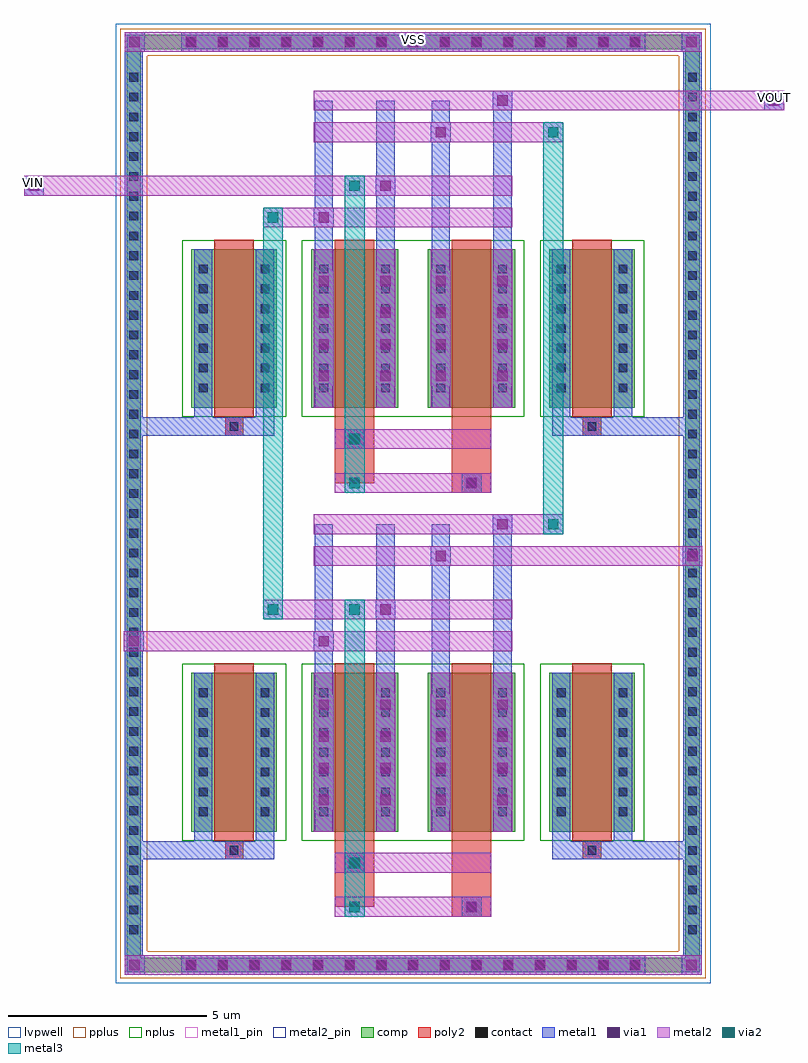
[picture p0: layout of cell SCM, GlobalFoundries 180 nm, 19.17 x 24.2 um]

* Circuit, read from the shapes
.subckt SCM VIN VOUT VSS
XM1 VSS VSS VSS VSS nfet_03v3 w=4u l=1u m=4
XM2 n1 n1 VSS VSS nfet_03v3 w=4u l=1u
XM3 VIN VIN n1 VSS nfet_03v3 w=4u l=1u
XM4 n2 n1 VSS VSS nfet_03v3 w=4u l=1u
XM5 VOUT VIN n2 VSS nfet_03v3 w=4u l=1u
.ends

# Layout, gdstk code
import gdstk
lib = gdstk.Library(unit=1e-6, precision=5e-09)
def R(c, l, rs):  # rectangles x0, y0, x1, y1
    for r in rs: c.add(gdstk.rectangle(r[:2], r[2:], *l))
def A(c, l, x, y, w, h, nx, ny, dx, dy):  # array of equal rectangles
    R(c, l, [(x+i*dx, y+j*dy, x+i*dx+w, y+j*dy+h) for i in range(nx) for j in range(ny)])
def P(c, l, *ps):  # polygons
    for p in ps: c.add(gdstk.Polygon(p, *l))
comp = (22, 0)
poly2 = (30, 0)
pplus = (31, 0)
nplus = (32, 0)
contact = (33, 0)
metal1 = (34, 0)
metal1_pin = (34, 10)
via1 = (35, 0)
metal2 = (36, 0)
metal2_pin = (36, 10)
via2 = (38, 0)
metal3 = (42, 0)
lvpwell = (204, 0)

scm = lib.new_cell('SCM')
A(scm, comp, -5.78, -6.47, 0.36, 0.36, 15, 2, 0.8, 23.28)
A(scm, comp, -7.225, -5.58, 0.36, 0.36, 1, 44, 0, 0.5)
A(scm, comp, 6.865, -5.58, 0.36, 0.36, 1, 44, 0, 0.5)
R(scm, comp, [(-5.78,-6.47,5.78,-6.11), (-7.225,-5.58,-6.865,16.28), (6.865,-5.58,7.225,16.28), (-5.595,-2.925,-3.435,1.075), (-2.575,-2.925,-0.375,1.075), (0.375,-2.925,2.575,1.075), (3.435,-2.925,5.595,1.075), (-5.595,7.765,-3.435,11.765), (-2.575,7.765,-0.375,11.765), (0.375,7.765,2.575,11.765), (3.435,7.765,5.595,11.765), (-5.78,16.81,5.78,17.17)])
P(scm, comp, [(7.225,17.17),(-7.225,17.17),(-7.225,-6.11),(-6.865,-6.11),(-6.865,16.81),(6.865,16.81),(6.865,-6.11),(-6.865,-6.11),(-7.225,-6.11),(-7.225,-6.47),(7.225,-6.47)])
R(scm, poly2, [(0.975,-5.075,1.975,-4.575), (1.295,-5.005,1.655,-4.645), (-1.975,-4.825,-0.975,1.315), (0.975,-4.825,1.975,1.315), (0.975,-4.575,1.975,-3.165), (-1.975,-3.965,-0.975,-3.465), (-1.655,-3.895,-1.295,-3.535), (-4.745,-3.625,-4.285,-3.165), (4.285,-3.625,4.745,-3.165), (-4.695,-3.575,-4.335,-3.215), (4.335,-3.575,4.695,-3.215), (-1.975,-3.465,-0.975,-3.165), (-5.015,-3.165,-4.015,1.315), (-1.975,-3.165,-0.975,1.315), (0.975,-3.165,1.975,1.315), (4.015,-3.165,5.015,1.315), (0.975,5.615,1.975,6.115), (1.295,5.685,1.655,6.045), (-1.975,5.865,-0.975,12.005), (0.975,5.865,1.975,12.005), (0.975,6.115,1.975,7.525), (-1.975,6.725,-0.975,7.225), (-1.655,6.795,-1.295,7.155), (-4.745,7.065,-4.285,7.525), (4.285,7.065,4.745,7.525), (-4.695,7.115,-4.335,7.475), (4.335,7.115,4.695,7.475), (-1.975,7.225,-0.975,7.525), (-5.015,7.525,-4.015,12.005), (-1.975,7.525,-0.975,12.005), (0.975,7.525,1.975,12.005), (4.015,7.525,5.015,12.005)])
P(scm, pplus, [(7.385,17.33),(-7.385,17.33),(-7.385,-5.95),(-6.705,-5.95),(-6.705,16.65),(6.705,16.65),(6.705,-5.95),(-6.705,-5.95),(-7.385,-5.95),(-7.385,-6.63),(7.385,-6.63)])
R(scm, nplus, [(-5.825,-3.155,-3.205,1.305), (-2.805,-3.155,-0.145,1.305), (-2.805,-3.155,2.805,1.305), (0.145,-3.155,2.805,1.305), (3.205,-3.155,5.825,1.305), (-5.825,7.535,-3.205,11.995), (-2.805,7.535,-0.145,11.995), (-2.805,7.535,2.805,11.995), (0.145,7.535,2.805,11.995), (3.205,7.535,5.825,11.995)])
A(scm, contact, -5.71, -6.4, 0.22, 0.22, 15, 2, 0.8, 23.28)
A(scm, contact, -7.155, -5.51, 0.22, 0.22, 1, 44, 0, 0.5)
A(scm, contact, 6.935, -5.51, 0.22, 0.22, 1, 44, 0, 0.5)
A(scm, contact, -5.405, -2.535, 0.22, 0.22, 1, 7, 0, 0.5)
A(scm, contact, -3.845, -2.535, 0.22, 0.22, 1, 7, 0, 0.5)
A(scm, contact, -2.365, -2.535, 0.22, 0.22, 1, 7, 0, 0.5)
A(scm, contact, -0.805, -2.535, 0.22, 0.22, 1, 7, 0, 0.5)
A(scm, contact, 0.585, -2.535, 0.22, 0.22, 1, 7, 0, 0.5)
A(scm, contact, 2.145, -2.535, 0.22, 0.22, 1, 7, 0, 0.5)
A(scm, contact, 3.625, -2.535, 0.22, 0.22, 1, 7, 0, 0.5)
A(scm, contact, 5.185, -2.535, 0.22, 0.22, 1, 7, 0, 0.5)
A(scm, contact, -5.405, 8.155, 0.22, 0.22, 1, 7, 0, 0.5)
A(scm, contact, -3.845, 8.155, 0.22, 0.22, 1, 7, 0, 0.5)
A(scm, contact, -2.365, 8.155, 0.22, 0.22, 1, 7, 0, 0.5)
A(scm, contact, -0.805, 8.155, 0.22, 0.22, 1, 7, 0, 0.5)
A(scm, contact, 0.585, 8.155, 0.22, 0.22, 1, 7, 0, 0.5)
A(scm, contact, 2.145, 8.155, 0.22, 0.22, 1, 7, 0, 0.5)
A(scm, contact, 3.625, 8.155, 0.22, 0.22, 1, 7, 0, 0.5)
A(scm, contact, 5.185, 8.155, 0.22, 0.22, 1, 7, 0, 0.5)
R(scm, contact, [(1.365,-4.935,1.585,-4.715), (-1.585,-3.825,-1.365,-3.605), (-4.625,-3.505,-4.405,-3.285), (4.405,-3.505,4.625,-3.285), (1.365,5.755,1.585,5.975), (-1.585,6.865,-1.365,7.085), (-4.625,7.185,-4.405,7.405), (4.405,7.185,4.625,7.405)])
A(scm, metal1, -5.85, -6.54, 0.5, 0.5, 15, 2, 0.8, 23.28)
A(scm, metal1, -7.275, -5.63, 0.46, 0.46, 1, 44, 0, 0.5)
A(scm, metal1, 6.815, -5.63, 0.46, 0.46, 1, 44, 0, 0.5)
A(scm, metal1, -5.525, -2.655, 0.46, 0.46, 1, 7, 0, 0.5)
A(scm, metal1, -3.965, -2.655, 0.46, 0.46, 1, 7, 0, 0.5)
A(scm, metal1, -2.485, -2.655, 0.46, 0.46, 1, 7, 0, 0.5)
A(scm, metal1, -0.925, -2.655, 0.46, 0.46, 1, 7, 0, 0.5)
A(scm, metal1, 0.465, -2.655, 0.46, 0.46, 1, 7, 0, 0.5)
A(scm, metal1, 2.025, -2.655, 0.46, 0.46, 1, 7, 0, 0.5)
A(scm, metal1, 3.505, -2.655, 0.46, 0.46, 1, 7, 0, 0.5)
A(scm, metal1, 5.065, -2.655, 0.46, 0.46, 1, 7, 0, 0.5)
A(scm, metal1, -2.505, -2.375, 0.5, 0.5, 1, 4, 0, 0.8)
A(scm, metal1, -0.945, -2.375, 0.5, 0.5, 1, 4, 0, 0.8)
A(scm, metal1, 0.445, -2.375, 0.5, 0.5, 1, 4, 0, 0.8)
A(scm, metal1, 2.005, -2.375, 0.5, 0.5, 1, 4, 0, 0.8)
A(scm, metal1, -5.525, 8.035, 0.46, 0.46, 1, 7, 0, 0.5)
A(scm, metal1, -3.965, 8.035, 0.46, 0.46, 1, 7, 0, 0.5)
A(scm, metal1, -2.485, 8.035, 0.46, 0.46, 1, 7, 0, 0.5)
A(scm, metal1, -0.925, 8.035, 0.46, 0.46, 1, 7, 0, 0.5)
A(scm, metal1, 0.465, 8.035, 0.46, 0.46, 1, 7, 0, 0.5)
A(scm, metal1, 2.025, 8.035, 0.46, 0.46, 1, 7, 0, 0.5)
A(scm, metal1, 3.505, 8.035, 0.46, 0.46, 1, 7, 0, 0.5)
A(scm, metal1, 5.065, 8.035, 0.46, 0.46, 1, 7, 0, 0.5)
A(scm, metal1, -2.505, 8.315, 0.5, 0.5, 1, 4, 0, 0.8)
A(scm, metal1, -0.945, 8.315, 0.5, 0.5, 1, 4, 0, 0.8)
A(scm, metal1, 0.445, 8.315, 0.5, 0.5, 1, 4, 0, 0.8)
A(scm, metal1, 2.005, 8.315, 0.5, 0.5, 1, 4, 0, 0.8)
R(scm, metal1, [(-7.275,-6.54,-6.775,-6.04), (-7.275,-6.54,-6.775,-6.04), (-7.275,-6.54,-6.815,-6.11), (-5.85,-6.54,5.85,-6.04), (6.775,-6.54,7.275,-6.04), (6.775,-6.54,7.275,-6.04), (6.815,-6.54,7.275,-6.11), (-7.275,-6.11,-6.815,16.81), (6.815,-6.11,7.275,16.81), (1.225,-5.075,1.725,-4.575), (-1.725,-3.965,-1.225,-3.465), (-7.275,-3.625,-4.745,-3.165), (-5.525,-3.625,-4.745,-3.165), (-5.525,-3.625,-5.065,-2.925), (-4.745,-3.625,-4.285,-3.165), (-4.285,-3.625,-3.505,-3.165), (-3.965,-3.625,-3.505,-2.925), (3.505,-3.625,4.285,-3.165), (3.505,-3.625,3.965,-2.925), (4.285,-3.625,4.745,-3.165), (4.745,-3.625,5.525,-3.165), (4.745,-3.625,7.275,-3.165), (5.065,-3.625,5.525,-2.925), (-5.525,-2.925,-5.065,1.075), (-3.965,-2.925,-3.505,1.075), (-2.485,-2.925,-2.025,1.075), (-0.925,-2.925,-0.465,1.075), (0.465,-2.925,0.925,1.075), (2.025,-2.925,2.485,1.075), (3.505,-2.925,3.965,1.075), (5.065,-2.925,5.525,1.075), (-2.505,-2.375,-2.005,0.525), (-0.945,-2.375,-0.445,0.525), (0.445,-2.375,0.945,0.525), (2.005,-2.375,2.505,0.525), (-2.485,1.075,-2.025,2.125), (-2.485,1.075,-2.025,4.825), (-0.925,1.075,-0.465,2.925), (-0.925,1.075,-0.465,4.825), (0.465,1.075,0.925,4.275), (0.465,1.075,0.925,4.825), (2.025,1.075,2.485,5.075), (2.025,1.075,2.485,4.825), (-7.295,1.625,-6.795,2.125), (-2.505,1.625,-2.005,2.125), (-0.945,2.425,-0.445,2.925), (0.445,3.775,0.945,4.275), (6.795,3.775,7.295,4.275), (2.005,4.575,2.505,5.075), (1.225,5.615,1.725,6.115), (-1.725,6.725,-1.225,7.225), (-7.275,7.065,-4.745,7.525), (-5.525,7.065,-4.745,7.525), (-5.525,7.065,-5.065,7.765), (-4.745,7.065,-4.285,7.525), (-4.285,7.065,-3.505,7.525), (-3.965,7.065,-3.505,7.765), (3.505,7.065,4.285,7.525), (3.505,7.065,3.965,7.765), (4.285,7.065,4.745,7.525), (4.745,7.065,5.525,7.525), (4.745,7.065,7.275,7.525), (5.065,7.065,5.525,7.765), (-5.525,7.765,-5.065,11.765), (-3.965,7.765,-3.505,11.765), (-2.485,7.765,-2.025,11.765), (-0.925,7.765,-0.465,11.765), (0.465,7.765,0.925,11.765), (2.025,7.765,2.485,11.765), (3.505,7.765,3.965,11.765), (5.065,7.765,5.525,11.765), (-2.505,8.315,-2.005,11.215), (-0.945,8.315,-0.445,11.215), (0.445,8.315,0.945,11.215), (2.005,8.315,2.505,11.215), (-2.485,11.765,-2.025,12.815), (-2.485,11.765,-2.025,15.515), (-0.925,11.765,-0.465,13.615), (-0.925,11.765,-0.465,15.515), (0.465,11.765,0.925,14.965), (0.465,11.765,0.925,15.515), (2.025,11.765,2.485,15.765), (2.025,11.765,2.485,15.515), (-2.505,12.315,-2.005,12.815), (-9.815,13.115,-9.315,13.615), (-0.945,13.115,-0.445,13.615), (0.445,14.465,0.945,14.965), (2.005,15.265,2.505,15.765), (8.855,15.265,9.355,15.765), (-7.275,16.74,-6.775,17.24), (-7.275,16.74,-6.775,17.24), (-5.85,16.74,5.85,17.24), (6.775,16.74,7.275,17.24), (6.775,16.74,7.275,17.24), (-7.275,16.81,-6.815,17.24), (6.815,16.81,7.275,17.24)])
R(scm, metal1_pin, [(-0.175,16.89,0.175,17.24)])
A(scm, via1, -5.73, -6.42, 0.26, 0.26, 15, 2, 0.8, 23.28)
A(scm, via1, -2.385, -2.255, 0.26, 0.26, 1, 4, 0, 0.8)
A(scm, via1, -0.825, -2.255, 0.26, 0.26, 1, 4, 0, 0.8)
A(scm, via1, 0.565, -2.255, 0.26, 0.26, 1, 4, 0, 0.8)
A(scm, via1, 2.125, -2.255, 0.26, 0.26, 1, 4, 0, 0.8)
A(scm, via1, -2.385, 8.435, 0.26, 0.26, 1, 4, 0, 0.8)
A(scm, via1, -0.825, 8.435, 0.26, 0.26, 1, 4, 0, 0.8)
A(scm, via1, 0.565, 8.435, 0.26, 0.26, 1, 4, 0, 0.8)
A(scm, via1, 2.125, 8.435, 0.26, 0.26, 1, 4, 0, 0.8)
R(scm, via1, [(-7.155,-6.42,-6.895,-6.16), (6.895,-6.42,7.155,-6.16), (1.345,-4.955,1.605,-4.695), (-1.605,-3.845,-1.345,-3.585), (-7.175,1.745,-6.915,2.005), (-2.385,1.745,-2.125,2.005), (-0.825,2.545,-0.565,2.805), (0.565,3.895,0.825,4.155), (6.915,3.895,7.175,4.155), (2.125,4.695,2.385,4.955), (1.345,5.735,1.605,5.995), (-1.605,6.845,-1.345,7.105), (-2.385,12.435,-2.125,12.695), (-9.695,13.235,-9.435,13.495), (-0.825,13.235,-0.565,13.495), (0.565,14.585,0.825,14.845), (2.125,15.385,2.385,15.645), (8.975,15.385,9.235,15.645), (-7.155,16.86,-6.895,17.12), (6.895,16.86,7.155,17.12)])
A(scm, metal2, -5.85, -6.54, 0.5, 0.5, 15, 2, 0.8, 23.28)
A(scm, metal2, -2.505, -2.375, 0.5, 0.5, 1, 4, 0, 0.8)
A(scm, metal2, -0.945, -2.375, 0.5, 0.5, 1, 4, 0, 0.8)
A(scm, metal2, 0.445, -2.375, 0.5, 0.5, 1, 4, 0, 0.8)
A(scm, metal2, 2.005, -2.375, 0.5, 0.5, 1, 4, 0, 0.8)
A(scm, metal2, -2.505, 8.315, 0.5, 0.5, 1, 4, 0, 0.8)
A(scm, metal2, -0.945, 8.315, 0.5, 0.5, 1, 4, 0, 0.8)
A(scm, metal2, 0.445, 8.315, 0.5, 0.5, 1, 4, 0, 0.8)
A(scm, metal2, 2.005, 8.315, 0.5, 0.5, 1, 4, 0, 0.8)
R(scm, metal2, [(-7.275,-6.54,-6.775,-6.04), (-7.275,-6.54,-6.775,-6.04), (-7.275,-6.54,-6.865,-6.04), (-6.865,-6.54,6.865,-6.04), (6.775,-6.54,7.275,-6.04), (6.775,-6.54,7.275,-6.04), (6.865,-6.54,7.275,-6.04), (-1.975,-5.075,1.975,-4.575), (-1.725,-5.075,-1.225,-4.575), (0.975,-5.075,1.975,-4.575), (0.975,-5.075,1.975,-4.575), (1.225,-5.075,1.725,-4.575), (-1.975,-3.965,-0.975,-3.465), (-1.975,-3.965,-0.975,-3.465), (-1.975,-3.965,1.975,-3.465), (-1.725,-3.965,-1.225,-3.465), (-1.725,-3.965,-1.225,-3.465), (-2.505,-2.925,-2.005,1.075), (-0.945,-2.925,-0.445,1.075), (0.445,-2.925,0.945,1.075), (2.005,-2.925,2.505,1.075), (-7.295,1.625,-6.795,2.125), (-7.295,1.625,-2.505,2.125), (-2.505,1.625,-2.005,2.125), (-2.505,1.625,-0.445,2.125), (-2.505,1.625,-0.445,2.125), (-2.505,1.625,2.505,2.125), (-3.785,2.425,-3.285,2.925), (-3.785,2.425,-3.285,2.925), (-3.785,2.425,-0.445,2.925), (-2.505,2.425,-0.445,2.925), (-2.505,2.425,-0.445,2.925), (-2.505,2.425,2.505,2.925), (-1.725,2.425,-1.225,2.925), (-0.945,2.425,-0.445,2.925), (-2.505,3.775,2.505,4.275), (0.445,3.775,0.945,4.275), (0.445,3.775,2.505,4.275), (0.445,3.775,2.505,4.275), (0.445,3.775,6.795,4.275), (6.795,3.775,7.295,4.275), (-2.505,4.575,2.505,5.075), (0.445,4.575,2.505,5.075), (0.445,4.575,2.505,5.075), (0.445,4.575,3.785,5.075), (2.005,4.575,2.505,5.075), (3.285,4.575,3.785,5.075), (3.285,4.575,3.785,5.075), (-1.975,5.615,1.975,6.115), (-1.725,5.615,-1.225,6.115), (0.975,5.615,1.975,6.115), (0.975,5.615,1.975,6.115), (1.225,5.615,1.725,6.115), (-1.975,6.725,-0.975,7.225), (-1.975,6.725,-0.975,7.225), (-1.975,6.725,1.975,7.225), (-1.725,6.725,-1.225,7.225), (-1.725,6.725,-1.225,7.225), (-2.505,7.765,-2.005,11.765), (-0.945,7.765,-0.445,11.765), (0.445,7.765,0.945,11.765), (2.005,7.765,2.505,11.765), (-3.785,12.315,-3.285,12.815), (-3.785,12.315,-3.285,12.815), (-3.785,12.315,-0.445,12.815), (-2.505,12.315,-2.005,12.815), (-2.505,12.315,-0.445,12.815), (-2.505,12.315,-0.445,12.815), (-2.505,12.315,2.505,12.815), (-9.815,13.115,-9.315,13.615), (-9.815,13.115,-2.505,13.615), (-2.505,13.115,-0.445,13.615), (-2.505,13.115,-0.445,13.615), (-2.505,13.115,2.505,13.615), (-1.725,13.115,-1.225,13.615), (-0.945,13.115,-0.445,13.615), (-2.505,14.465,2.505,14.965), (0.445,14.465,0.945,14.965), (0.445,14.465,2.505,14.965), (0.445,14.465,2.505,14.965), (0.445,14.465,3.785,14.965), (3.285,14.465,3.785,14.965), (3.285,14.465,3.785,14.965), (-2.505,15.265,2.505,15.765), (0.445,15.265,2.505,15.765), (0.445,15.265,2.505,15.765), (2.005,15.265,2.505,15.765), (2.505,15.265,9.355,15.765), (8.855,15.265,9.355,15.765), (-7.275,16.74,-6.775,17.24), (-7.275,16.74,-6.775,17.24), (-7.275,16.74,-6.865,17.24), (-6.865,16.74,6.865,17.24), (6.775,16.74,7.275,17.24), (6.775,16.74,7.275,17.24), (6.865,16.74,7.275,17.24)])
R(scm, metal2_pin, [(-9.74,13.265,-9.39,13.615), (8.93,15.415,9.28,15.765)])
R(scm, via2, [(-1.605,-4.955,-1.345,-4.695), (-1.605,-3.845,-1.345,-3.585), (-3.665,2.545,-3.405,2.805), (-3.665,2.545,-3.405,2.805), (-1.605,2.545,-1.345,2.805), (3.405,4.695,3.665,4.955), (3.405,4.695,3.665,4.955), (-1.605,5.735,-1.345,5.995), (-1.605,6.845,-1.345,7.105), (-3.665,12.435,-3.405,12.695), (-3.665,12.435,-3.405,12.695), (-1.605,13.235,-1.345,13.495), (3.405,14.585,3.665,14.845), (3.405,14.585,3.665,14.845)])
R(scm, metal3, [(-1.725,-5.075,-1.225,-4.575), (-1.725,-5.075,-1.225,-3.465), (-1.725,-3.965,-1.225,-3.465), (-1.725,-3.965,-1.225,2.925), (-3.785,2.425,-3.285,12.815), (-3.785,2.425,-3.285,2.925), (-3.785,2.425,-3.285,2.925), (-1.725,2.425,-1.225,2.925), (3.285,4.575,3.785,14.965), (3.285,4.575,3.785,5.075), (3.285,4.575,3.785,5.075), (-1.725,5.615,-1.225,6.115), (-1.725,5.615,-1.225,7.225), (-1.725,6.725,-1.225,7.225), (-1.725,6.725,-1.225,13.615), (-3.785,12.315,-3.285,12.815), (-3.785,12.315,-3.285,12.815), (-1.725,13.115,-1.225,13.615), (3.285,14.465,3.785,14.965), (3.285,14.465,3.785,14.965)])
R(scm, lvpwell, [(-7.505,-6.75,7.505,17.45), (-5.945,-5.195,5.945,5.195), (-5.945,5.495,5.945,15.885)])
scm.add(gdstk.Label('VIN', (-9.565,13.44), layer=36, texttype=10))
scm.add(gdstk.Label('VSS', (0,17.065), layer=34, texttype=10))
scm.add(gdstk.Label('VOUT', (9.105,15.59), layer=36, texttype=10))

lib.write_gds('SCM.gds')
